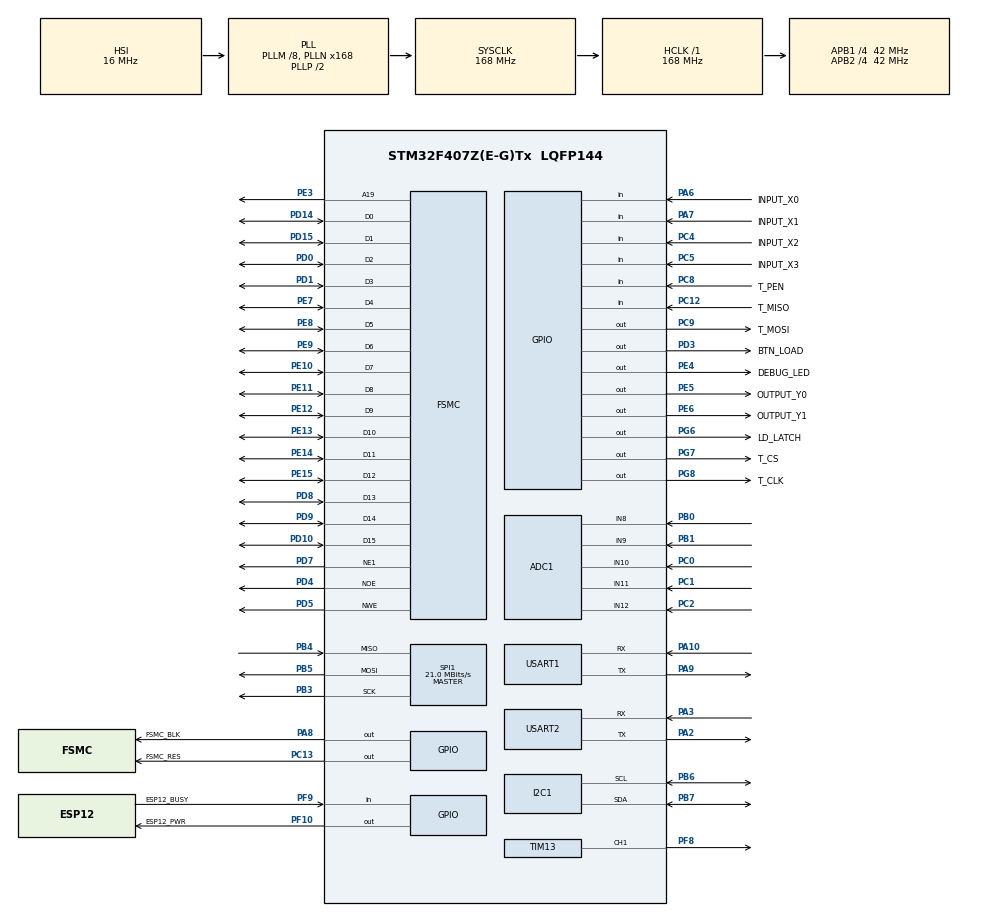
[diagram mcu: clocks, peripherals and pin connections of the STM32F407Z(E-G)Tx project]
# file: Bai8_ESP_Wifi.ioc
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ADC1.Channel-0\#ChannelRegularConversion=ADC_CHANNEL_8
ADC1.Channel-1\#ChannelRegularConversion=ADC_CHANNEL_9
ADC1.Channel-2\#ChannelRegularConversion=ADC_CHANNEL_10
ADC1.Channel-3\#ChannelRegularConversion=ADC_CHANNEL_11
ADC1.Channel-4\#ChannelRegularConversion=ADC_CHANNEL_12
ADC1.NbrOfConversion=5
ADC1.NbrOfConversionFlag=1
ADC1.Rank-0\#ChannelRegularConversion=1
ADC1.Rank-1\#ChannelRegularConversion=2
ADC1.Rank-2\#ChannelRegularConversion=3
ADC1.Rank-3\#ChannelRegularConversion=4
ADC1.Rank-4\#ChannelRegularConversion=5
ADC1.SamplingTime-0\#ChannelRegularConversion=ADC_SAMPLETIME_3CYCLES
ADC1.SamplingTime-1\#ChannelRegularConversion=ADC_SAMPLETIME_3CYCLES
ADC1.SamplingTime-2\#ChannelRegularConversion=ADC_SAMPLETIME_3CYCLES
ADC1.SamplingTime-3\#ChannelRegularConversion=ADC_SAMPLETIME_3CYCLES
ADC1.SamplingTime-4\#ChannelRegularConversion=ADC_SAMPLETIME_3CYCLES
ADC1.ScanConvMode=ENABLE
ADC1.master=1
Dma.ADC1.0.Direction=DMA_PERIPH_TO_MEMORY
Dma.ADC1.0.FIFOMode=DMA_FIFOMODE_DISABLE
Dma.ADC1.0.Instance=DMA2_Stream0
Dma.ADC1.0.MemDataAlignment=DMA_MDATAALIGN_HALFWORD
Dma.ADC1.0.MemInc=DMA_MINC_ENABLE
Dma.ADC1.0.Mode=DMA_CIRCULAR
Dma.ADC1.0.PeriphDataAlignment=DMA_PDATAALIGN_HALFWORD
Dma.ADC1.0.PeriphInc=DMA_PINC_DISABLE
Dma.ADC1.0.Priority=DMA_PRIORITY_LOW
Dma.Request0=ADC1
FSMC.AddressSetupTime1=0xf
FSMC.BusTurnAroundDuration1=0
FSMC.DataSetupTime1=60
FSMC.ExtendedAddressSetupTime1=8
FSMC.ExtendedBusTurnAroundDuration1=0
FSMC.ExtendedDataSetupTime1=9
FSMC.ExtendedMode1=FSMC_EXTENDED_MODE_ENABLE
I2C1.I2C_Mode=I2C_Standard
Mcu.Family=STM32F4
Mcu.Name=STM32F407Z(E-G)Tx
Mcu.Package=LQFP144
NVIC.DMA2_Stream0_IRQn=true\:0\:0\:false\:false\:true\:false\:true\:true
NVIC.PriorityGroup=NVIC_PRIORITYGROUP_4
NVIC.TIM2_IRQn=true\:0\:0\:false\:false\:true\:true\:true\:true
NVIC.USART1_IRQn=true\:0\:0\:false\:false\:true\:true\:true\:true
NVIC.USART2_IRQn=true\:0\:0\:false\:false\:true\:true\:true\:true
PA10.Mode=Asynchronous
PA10.Signal=USART1_RX
PA13.Mode=Serial_Wire
PA13.Signal=SYS_JTMS-SWDIO
PA14.Mode=Serial_Wire
PA14.Signal=SYS_JTCK-SWCLK
PA2.Mode=Asynchronous
PA2.Signal=USART2_TX
PA3.Mode=Asynchronous
PA3.Signal=USART2_RX
PA6.GPIO_Label=INPUT_X0
PA6.Signal=GPIO_Input
PA7.GPIO_Label=INPUT_X1
PA7.Signal=GPIO_Input
PA8.GPIO_Label=FSMC_BLK
PA8.Signal=GPIO_Output
PA9.Mode=Asynchronous
PA9.Signal=USART1_TX
PB0.Signal=ADCx_IN8
PB1.Signal=ADCx_IN9
PB3.Mode=Full_Duplex_Master
PB3.Signal=SPI1_SCK
PB4.Mode=Full_Duplex_Master
PB4.Signal=SPI1_MISO
PB5.Mode=Full_Duplex_Master
PB5.Signal=SPI1_MOSI
PB6.Mode=I2C
PB6.Signal=I2C1_SCL
PB7.Mode=I2C
PB7.Signal=I2C1_SDA
PC0.Signal=ADCx_IN10
PC1.Signal=ADCx_IN11
PC12.GPIO_Label=T_MISO
PC12.GPIO_PuPd=GPIO_PULLUP
PC12.Signal=GPIO_Input
PC13-ANTI_TAMP.GPIO_Label=FSMC_RES
PC13-ANTI_TAMP.Signal=GPIO_Output
PC2.Signal=ADCx_IN12
PC4.GPIO_Label=INPUT_X2
PC4.Signal=GPIO_Input
PC5.GPIO_Label=INPUT_X3
PC5.Signal=GPIO_Input
PC8.GPIO_Label=T_PEN
PC8.GPIO_PuPd=GPIO_PULLUP
PC8.Signal=GPIO_Input
PC9.GPIO_Label=T_MOSI
PC9.Signal=GPIO_Output
PD0.Signal=FSMC_D2_DA2
PD1.Signal=FSMC_D3_DA3
PD10.Signal=FSMC_D15_DA15
PD14.Signal=FSMC_D0_DA0
PD15.Signal=FSMC_D1_DA1
PD3.GPIO_Label=BTN_LOAD
PD3.Signal=GPIO_Output
PD4.Signal=FSMC_NOE
PD5.Signal=FSMC_NWE
PD7.Mode=NorPsramChipSelect1_1
PD7.Signal=FSMC_NE1
PD8.Signal=FSMC_D13_DA13
PD9.Signal=FSMC_D14_DA14
PE10.Signal=FSMC_D7_DA7
PE11.Signal=FSMC_D8_DA8
PE12.Signal=FSMC_D9_DA9
PE13.Signal=FSMC_D10_DA10
PE14.Signal=FSMC_D11_DA11
PE15.Signal=FSMC_D12_DA12
PE3.Signal=FSMC_A19
PE4.GPIO_Label=DEBUG_LED
PE4.Signal=GPIO_Output
PE5.GPIO_Label=OUTPUT_Y0
PE5.Signal=GPIO_Output
PE6.GPIO_Label=OUTPUT_Y1
PE6.Signal=GPIO_Output
PE7.Signal=FSMC_D4_DA4
PE8.Signal=FSMC_D5_DA5
PE9.Signal=FSMC_D6_DA6
PF10.GPIO_Label=ESP12_PWR
PF10.Signal=GPIO_Output
PF8.Signal=S_TIM13_CH1
PF9.GPIO_Label=ESP12_BUSY
PF9.Signal=GPIO_Input
PG6.GPIO_Label=LD_LATCH
PG6.Signal=GPIO_Output
PG7.GPIO_Label=T_CS
PG7.Signal=GPIO_Output
PG8.GPIO_Label=T_CLK
PG8.Signal=GPIO_Output
PH0-OSC_IN.Mode=HSE-External-Oscillator
PH0-OSC_IN.Signal=RCC_OSC_IN
PH1-OSC_OUT.Mode=HSE-External-Oscillator
PH1-OSC_OUT.Signal=RCC_OSC_OUT
ProjectManager.HeapSize=0x200
ProjectManager.StackSize=0x400
ProjectManager.TargetToolchain=STM32CubeIDE
RCC.48MHZClocksFreq_Value=84000000
RCC.AHBFreq_Value=168000000
RCC.APB1CLKDivider=RCC_HCLK_DIV4
RCC.APB1Freq_Value=42000000
RCC.APB1TimFreq_Value=84000000
RCC.APB2CLKDivider=RCC_HCLK_DIV4
RCC.APB2Freq_Value=42000000
RCC.APB2TimFreq_Value=84000000
RCC.CortexFreq_Value=168000000
RCC.HCLKFreq_Value=168000000
RCC.HSE_VALUE=8000000
RCC.HSI_VALUE=16000000
RCC.LSE_VALUE=32768
RCC.PLLM=8
RCC.PLLN=168
RCC.SYSCLKFreq_VALUE=168000000
RCC.SYSCLKSource=RCC_SYSCLKSOURCE_PLLCLK
RCC.VCOOutputFreq_Value=336000000
SH.ADCx_IN10.0=ADC1_IN10,IN10
SH.ADCx_IN11.0=ADC1_IN11,IN11
SH.ADCx_IN12.0=ADC1_IN12,IN12
SH.ADCx_IN8.0=ADC1_IN8,IN8
SH.ADCx_IN9.0=ADC1_IN9,IN9
SH.FSMC_A19.0=FSMC_A19,A19_1
SH.FSMC_D0_DA0.0=FSMC_D0,16b-d1
SH.FSMC_D10_DA10.0=FSMC_D10,16b-d1
SH.FSMC_D11_DA11.0=FSMC_D11,16b-d1
SH.FSMC_D12_DA12.0=FSMC_D12,16b-d1
SH.FSMC_D13_DA13.0=FSMC_D13,16b-d1
SH.FSMC_D14_DA14.0=FSMC_D14,16b-d1
SH.FSMC_D15_DA15.0=FSMC_D15,16b-d1
SH.FSMC_D1_DA1.0=FSMC_D1,16b-d1
SH.FSMC_D2_DA2.0=FSMC_D2,16b-d1
SH.FSMC_D3_DA3.0=FSMC_D3,16b-d1
SH.FSMC_D4_DA4.0=FSMC_D4,16b-d1
SH.FSMC_D5_DA5.0=FSMC_D5,16b-d1
SH.FSMC_D6_DA6.0=FSMC_D6,16b-d1
SH.FSMC_D7_DA7.0=FSMC_D7,16b-d1
SH.FSMC_D8_DA8.0=FSMC_D8,16b-d1
SH.FSMC_D9_DA9.0=FSMC_D9,16b-d1
SH.FSMC_NOE.0=FSMC_NOE,Lcd1
SH.FSMC_NWE.0=FSMC_NWE,Lcd1
SH.S_TIM13_CH1.0=TIM13_CH1,PWM Generation1 CH1
SPI1.BaudRatePrescaler=SPI_BAUDRATEPRESCALER_2
SPI1.CalculateBaudRate=21.0 MBits/s
SPI1.Direction=SPI_DIRECTION_2LINES
SPI1.Mode=SPI_MODE_MASTER
SPI1.VirtualType=VM_MASTER
TIM1.Prescaler=84-1
TIM13.Channel=TIM_CHANNEL_1
TIM13.Period=100-1
TIM13.Prescaler=840-1
TIM2.Period=100-1
TIM2.Prescaler=840-1
USART1.VirtualMode=VM_ASYNC
USART2.VirtualMode=VM_ASYNC
VP_TIM13_VS_ClockSourceINT.Mode=Enable_Timer
VP_TIM1_VS_ClockSourceINT.Mode=Internal
VP_TIM2_VS_ClockSourceINT.Mode=Internal
board=custom

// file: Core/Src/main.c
/* USER CODE BEGIN Header */
/**
  ******************************************************************************
  * @file           : main.c
  * @brief          : Main program body
  ******************************************************************************
  * @attention
  *
  * <h2><center>&copy; Copyright (c) 2023 STMicroelectronics.
  * All rights reserved.</center></h2>
  *
  * This software component is licensed by ST under BSD 3-Clause license,
  * the "License"; You may not use this file except in compliance with the
  * License. You may obtain a copy of the License at:
  *                        opensource.org/licenses/BSD-3-Clause
  *
  ******************************************************************************
  */
/* USER CODE END Header */
#include "main.h"
#include "adc.h"
#include "dma.h"
#include "i2c.h"
#include "spi.h"
#include "tim.h"
#include "usart.h"
#include "gpio.h"
#include "fsmc.h"

/* USER CODE BEGIN Includes */
#include "software_timer.h"
#include "led_7seg.h"
#include "button.h"
#include "lcd.h"
#include "picture.h"
#include "ds3231.h"
#include "sensor.h"
#include "buzzer.h"
#include "touch.h"
#include "uart.h"
#include "light_control.h"
/* USER CODE END Includes */

void SystemClock_Config(void);
/* USER CODE BEGIN PFP */
void system_init();
void test_LedDebug();
/* USER CODE END PFP */

/* USER CODE BEGIN 0 */
void system_init(){
	  timer_init();
	  button_init();
	  lcd_init();
	  uart_init_esp();
	  sensor_init();
	  setTimer2(50);
}

/* USER CODE END 0 */

int main(void)
{

  /* MCU Configuration--------------------------------------------------------*/

  /* Reset of all peripherals, Initializes the Flash interface and the Systick. */
  HAL_Init();

  /* Configure the system clock */
  SystemClock_Config();

  /* Initialize all configured peripherals */
  MX_GPIO_Init();
  MX_DMA_Init();
  MX_SPI1_Init();
  MX_FSMC_Init();
  MX_I2C1_Init();
  MX_TIM13_Init();
  MX_TIM2_Init();
  MX_ADC1_Init();
  MX_TIM1_Init();
  MX_USART2_UART_Init();
  MX_USART1_UART_Init();
  /* USER CODE BEGIN 2 */
  system_init();
  /* USER CODE END 2 */

  /* Infinite loop */
  /* USER CODE BEGIN WHILE */
// char result[20];
 lcd_Clear(BLACK);
 while (1)
  {
    /* USER CODE END WHILE */
	 if(flag_timer2 == 1){
		 	sensor_Read();

		    char result[20];
		    memset(result, 0, sizeof(result));  // Initialize result with null characters

		    float temperature = sensor_GetTemperature();

		    // Create the string without decimal places // Temporary buffer for formatting temperature as string
		    snprintf(result, sizeof(result), "!TEMP:%.2f#", temperature);

		    // Construct the final result string

		    lcd_ShowStr(10, 50, result, GREEN, BLACK, 24, 0);

		    // Send the result string through UART
		    uart_EspSendBytes((uint8_t*)result, strlen(result));

		    setTimer2(30000);
	 }
  }
}

void SystemClock_Config(void)
{
  RCC_OscInitTypeDef RCC_OscInitStruct = {0};
  RCC_ClkInitTypeDef RCC_ClkInitStruct = {0};

  /** Configure the main internal regulator output voltage
  */
  __HAL_RCC_PWR_CLK_ENABLE();
  __HAL_PWR_VOLTAGESCALING_CONFIG(PWR_REGULATOR_VOLTAGE_SCALE1);

  /** Initializes the RCC Oscillators according to the specified parameters
  * in the RCC_OscInitTypeDef structure.
  */
  RCC_OscInitStruct.OscillatorType = RCC_OSCILLATORTYPE_HSI;
  RCC_OscInitStruct.HSIState = RCC_HSI_ON;
  RCC_OscInitStruct.HSICalibrationValue = RCC_HSICALIBRATION_DEFAULT;
  RCC_OscInitStruct.PLL.PLLState = RCC_PLL_ON;
  RCC_OscInitStruct.PLL.PLLSource = RCC_PLLSOURCE_HSI;
  RCC_OscInitStruct.PLL.PLLM = 8;
  RCC_OscInitStruct.PLL.PLLN = 168;
  RCC_OscInitStruct.PLL.PLLP = RCC_PLLP_DIV2;
  RCC_OscInitStruct.PLL.PLLQ = 4;
  if (HAL_RCC_OscConfig(&RCC_OscInitStruct) != HAL_OK)
  {
    Error_Handler();
  }

  /** Initializes the CPU, AHB and APB buses clocks
  */
  RCC_ClkInitStruct.ClockType = RCC_CLOCKTYPE_HCLK|RCC_CLOCKTYPE_SYSCLK
                              |RCC_CLOCKTYPE_PCLK1|RCC_CLOCKTYPE_PCLK2;
  RCC_ClkInitStruct.SYSCLKSource = RCC_SYSCLKSOURCE_PLLCLK;
  RCC_ClkInitStruct.AHBCLKDivider = RCC_SYSCLK_DIV1;
  RCC_ClkInitStruct.APB1CLKDivider = RCC_HCLK_DIV4;
  RCC_ClkInitStruct.APB2CLKDivider = RCC_HCLK_DIV4;

  if (HAL_RCC_ClockConfig(&RCC_ClkInitStruct, FLASH_LATENCY_5) != HAL_OK)
  {
    Error_Handler();
  }
}

void Error_Handler(void)
{
  __disable_irq();
  while (1)
  {
  }
}
